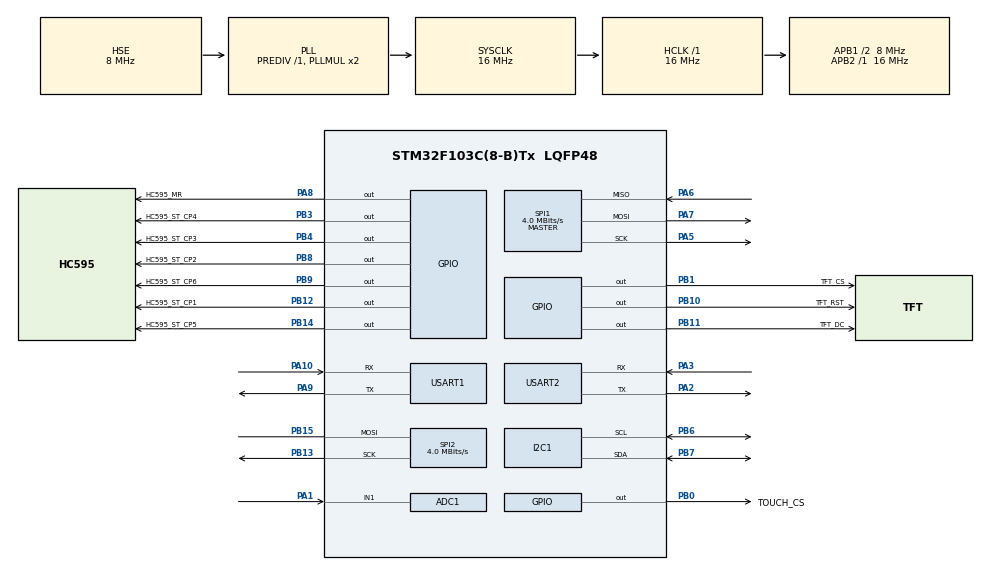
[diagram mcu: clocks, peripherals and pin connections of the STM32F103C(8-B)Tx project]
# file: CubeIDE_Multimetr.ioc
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ADC1.Channel-4\#ChannelRegularConversion=ADC_CHANNEL_1
ADC1.ContinuousConvMode=ENABLE
ADC1.EnableRegularConversion=ENABLE
ADC1.NbrOfConversion=1
ADC1.NbrOfConversionFlag=1
ADC1.Rank-4\#ChannelRegularConversion=1
ADC1.SamplingTime-4\#ChannelRegularConversion=ADC_SAMPLETIME_1CYCLE_5
ADC1.master=1
FREERTOS.Queues01=myQueue01,10,QUEUE_t,0,Static,myQueue01Buffer,myQueue01ControlBlock
FREERTOS.Tasks01=defaultTask,24,128,StartDefaultTask,Default,NULL,Static,defaultTaskBuffer,defaultTaskControlBlock;ADC_Task,10,500,StartADC_Task,Default,NULL,Static,ADC_TaskBuffer,ADC_TaskControlBlock;UART_Task,8,128,StartUART_Task,Default,NULL,Static,UART_TaskBuffer,UART_TaskControlBlock;TFT_Task,8,128,StartTFT_Task,Default,NULL,Static,TFT_TaskBuffer,TFT_TaskControlBlock;INA219_Current,8,400,StartINA219_Current_Task,Default,NULL,Static,INA219_TaskBuffer,INA219_TaskControlBlock;InitMyDevice,24,128,StartInitMyDevice,Default,NULL,Static,InitMyDeviceBuffer,InitMyDeviceControlBlock;INA219_vBus,8,350,INA219_vBus_Task,Default,NULL,Dynamic,NULL,NULL;INA219_vShunt,8,350,INA219_vShunt_Task,Default,NULL,Dynamic,NULL,NULL;ManagementMatri,8,250,StartManagementMatrix,Default,NULL,Static,ManagementMatriBuffer,ManagementMatriControlBlock
Mcu.Family=STM32F1
Mcu.Name=STM32F103C(8-B)Tx
Mcu.Package=LQFP48
NVIC.PriorityGroup=NVIC_PRIORITYGROUP_4
NVIC.TIM4_IRQn=true\:15\:0\:false\:false\:true\:false\:false\:true\:true
NVIC.TimeBase=TIM4_IRQn
NVIC.TimeBaseIP=TIM4
PA1.Signal=ADCx_IN1
PA10.Mode=Asynchronous
PA10.Signal=USART1_RX
PA13.Mode=Serial_Wire
PA13.Signal=SYS_JTMS-SWDIO
PA14.Mode=Serial_Wire
PA14.Signal=SYS_JTCK-SWCLK
PA2.Mode=Asynchronous
PA2.Signal=USART2_TX
PA3.Mode=Asynchronous
PA3.Signal=USART2_RX
PA5.Mode=Full_Duplex_Master
PA5.Signal=SPI1_SCK
PA6.Mode=Full_Duplex_Master
PA6.Signal=SPI1_MISO
PA7.Mode=Full_Duplex_Master
PA7.Signal=SPI1_MOSI
PA8.GPIO_Label=HC595_MR
PA8.Signal=GPIO_Output
PA9.Mode=Asynchronous
PA9.Signal=USART1_TX
PB0.GPIO_Label=TOUCH_CS
PB0.Signal=GPIO_Output
PB1.GPIO_Label=TFT_CS
PB1.Signal=GPIO_Output
PB10.GPIO_Label=TFT_RST
PB10.Signal=GPIO_Output
PB11.GPIO_Label=TFT_DC
PB11.Signal=GPIO_Output
PB12.GPIO_Label=HC595_ST_CP1
PB12.Signal=GPIO_Output
PB13.Mode=Simplex_Bidirectional_Master
PB13.Signal=SPI2_SCK
PB14.GPIO_Label=HC595_ST_CP5
PB14.Signal=GPIO_Output
PB15.Mode=Simplex_Bidirectional_Master
PB15.Signal=SPI2_MOSI
PB3.GPIO_Label=HC595_ST_CP4
PB3.Signal=GPIO_Output
PB4.GPIO_Label=HC595_ST_CP3
PB4.Signal=GPIO_Output
PB6.Mode=I2C
PB6.Signal=I2C1_SCL
PB7.Mode=I2C
PB7.Signal=I2C1_SDA
PB8.GPIO_Label=HC595_ST_CP2
PB8.Signal=GPIO_Output
PB9.GPIO_Label=HC595_ST_CP6
PB9.Signal=GPIO_Output
PD0-OSC_IN.Mode=HSE-External-Oscillator
PD0-OSC_IN.Signal=RCC_OSC_IN
PD1-OSC_OUT.Mode=HSE-External-Oscillator
PD1-OSC_OUT.Signal=RCC_OSC_OUT
ProjectManager.HeapSize=0x200
ProjectManager.StackSize=0x400
ProjectManager.TargetToolchain=STM32CubeIDE
RCC.AHBFreq_Value=16000000
RCC.APB1CLKDivider=RCC_HCLK_DIV2
RCC.APB1Freq_Value=8000000
RCC.APB1TimFreq_Value=16000000
RCC.APB2Freq_Value=16000000
RCC.APB2TimFreq_Value=16000000
RCC.HCLKFreq_Value=16000000
RCC.PLLSourceVirtual=RCC_PLLSOURCE_HSE
RCC.SYSCLKFreq_VALUE=16000000
RCC.SYSCLKSource=RCC_SYSCLKSOURCE_PLLCLK
RCC.USBFreq_Value=16000000
SH.ADCx_IN1.0=ADC1_IN1,IN1
SPI1.BaudRatePrescaler=SPI_BAUDRATEPRESCALER_4
SPI1.CalculateBaudRate=4.0 MBits/s
SPI1.Direction=SPI_DIRECTION_2LINES
SPI1.Mode=SPI_MODE_MASTER
SPI1.VirtualType=VM_MASTER
SPI2.CalculateBaudRate=4.0 MBits/s
SPI2.Direction=SPI_DIRECTION_1LINE
SPI2.Mode=SPI_MODE_MASTER
SPI2.VirtualType=VM_MASTER
USART1.VirtualMode=VM_ASYNC
USART2.VirtualMode=VM_ASYNC
VP_FREERTOS_VS_CMSIS_V2.Mode=CMSIS_V2
VP_SYS_VS_tim4.Mode=TIM4
board=custom

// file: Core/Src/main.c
/* USER CODE BEGIN Header */
/**
  ******************************************************************************
  * @file           : main.c
  * @brief          : Main program body
  ******************************************************************************
  * @attention
  *
  * Copyright (c) 2024 STMicroelectronics.
  * All rights reserved.
  *
  * This software is licensed under terms that can be found in the LICENSE file
  * in the root directory of this software component.
  * If no LICENSE file comes with this software, it is provided AS-IS.
  *
  ******************************************************************************
  */
/* USER CODE END Header */
#include "main.h"
#include "cmsis_os.h"

typedef StaticTask_t osStaticThreadDef_t;
typedef StaticQueue_t osStaticMessageQDef_t;
/* USER CODE BEGIN PTD */

uint8_t number74HC595;	// номер подключаемой мк 74HC595 по контакту "защелки" ST_CP
uint8_t numberMass; // номер вычисленного элемента в массиве

/*Массив адресов пинов, подключенных к пинам ST_CP микросхем 74HC595  */
uint16_t mass74HC595[] = {
		((uint16_t)0x1000),	//ST_CP_1     GPIO_PIN_12
		((uint16_t)0x0100),	//ST_CP_2     GPIO_PIN_8
		((uint16_t)0x0010),	//ST_CP_3     GPIO_PIN_4
		((uint16_t)0x0008),	//ST_CP_4     GPIO_PIN_3
		((uint16_t)0x4000),	//ST_CP_5     GPIO_PIN_14
		((uint16_t)0x0200),	//ST_CP_6     GPIO_PIN_9
};

typedef enum {
	vBus,
	vShunt,
	Current
} DataTask_t;

typedef struct {
	char Buf[30];
	char mess[10];
} QUEUE_t;
/* USER CODE END PTD */

ADC_HandleTypeDef hadc1;

I2C_HandleTypeDef hi2c1;

SPI_HandleTypeDef hspi1;
SPI_HandleTypeDef hspi2;

UART_HandleTypeDef huart1;
UART_HandleTypeDef huart2;

/* Definitions for defaultTask */
osThreadId_t defaultTaskHandle;
uint32_t defaultTaskBuffer[ 128 ];
osStaticThreadDef_t defaultTaskControlBlock;
const osThreadAttr_t defaultTask_attributes = {
  .name = "defaultTask",
  .cb_mem = &defaultTaskControlBlock,
  .cb_size = sizeof(defaultTaskControlBlock),
  .stack_mem = &defaultTaskBuffer[0],
  .stack_size = sizeof(defaultTaskBuffer),
  .priority = (osPriority_t) osPriorityNormal,
};
/* Definitions for ADC_Task */
osThreadId_t ADC_TaskHandle;
uint32_t ADC_TaskBuffer[ 500 ];
osStaticThreadDef_t ADC_TaskControlBlock;
const osThreadAttr_t ADC_Task_attributes = {
  .name = "ADC_Task",
  .cb_mem = &ADC_TaskControlBlock,
  .cb_size = sizeof(ADC_TaskControlBlock),
  .stack_mem = &ADC_TaskBuffer[0],
  .stack_size = sizeof(ADC_TaskBuffer),
  .priority = (osPriority_t) osPriorityLow2,
};
/* Definitions for UART_Task */
osThreadId_t UART_TaskHandle;
uint32_t UART_TaskBuffer[ 128 ];
osStaticThreadDef_t UART_TaskControlBlock;
const osThreadAttr_t UART_Task_attributes = {
  .name = "UART_Task",
  .cb_mem = &UART_TaskControlBlock,
  .cb_size = sizeof(UART_TaskControlBlock),
  .stack_mem = &UART_TaskBuffer[0],
  .stack_size = sizeof(UART_TaskBuffer),
  .priority = (osPriority_t) osPriorityLow,
};
/* Definitions for TFT_Task */
osThreadId_t TFT_TaskHandle;
uint32_t TFT_TaskBuffer[ 128 ];
osStaticThreadDef_t TFT_TaskControlBlock;
const osThreadAttr_t TFT_Task_attributes = {
  .name = "TFT_Task",
  .cb_mem = &TFT_TaskControlBlock,
  .cb_size = sizeof(TFT_TaskControlBlock),
  .stack_mem = &TFT_TaskBuffer[0],
  .stack_size = sizeof(TFT_TaskBuffer),
  .priority = (osPriority_t) osPriorityLow,
};
/* Definitions for INA219_Current */
osThreadId_t INA219_CurrentHandle;
uint32_t INA219_TaskBuffer[ 400 ];
osStaticThreadDef_t INA219_TaskControlBlock;
const osThreadAttr_t INA219_Current_attributes = {
  .name = "INA219_Current",
  .cb_mem = &INA219_TaskControlBlock,
  .cb_size = sizeof(INA219_TaskControlBlock),
  .stack_mem = &INA219_TaskBuffer[0],
  .stack_size = sizeof(INA219_TaskBuffer),
  .priority = (osPriority_t) osPriorityLow,
};
/* Definitions for InitMyDevice */
osThreadId_t InitMyDeviceHandle;
uint32_t InitMyDeviceBuffer[ 128 ];
osStaticThreadDef_t InitMyDeviceControlBlock;
const osThreadAttr_t InitMyDevice_attributes = {
  .name = "InitMyDevice",
  .cb_mem = &InitMyDeviceControlBlock,
  .cb_size = sizeof(InitMyDeviceControlBlock),
  .stack_mem = &InitMyDeviceBuffer[0],
  .stack_size = sizeof(InitMyDeviceBuffer),
  .priority = (osPriority_t) osPriorityNormal,
};
/* Definitions for INA219_vBus */
osThreadId_t INA219_vBusHandle;
const osThreadAttr_t INA219_vBus_attributes = {
  .name = "INA219_vBus",
  .stack_size = 350 * 4,
  .priority = (osPriority_t) osPriorityLow,
};
/* Definitions for INA219_vShunt */
osThreadId_t INA219_vShuntHandle;
const osThreadAttr_t INA219_vShunt_attributes = {
  .name = "INA219_vShunt",
  .stack_size = 350 * 4,
  .priority = (osPriority_t) osPriorityLow,
};
/* Definitions for ManagementMatri */
osThreadId_t ManagementMatriHandle;
uint32_t ManagementMatriBuffer[ 250 ];
osStaticThreadDef_t ManagementMatriControlBlock;
const osThreadAttr_t ManagementMatri_attributes = {
  .name = "ManagementMatri",
  .cb_mem = &ManagementMatriControlBlock,
  .cb_size = sizeof(ManagementMatriControlBlock),
  .stack_mem = &ManagementMatriBuffer[0],
  .stack_size = sizeof(ManagementMatriBuffer),
  .priority = (osPriority_t) osPriorityLow,
};
/* Definitions for myQueue01 */
osMessageQueueId_t myQueue01Handle;
uint8_t myQueue01Buffer[ 10 * sizeof( QUEUE_t ) ];
osStaticMessageQDef_t myQueue01ControlBlock;
const osMessageQueueAttr_t myQueue01_attributes = {
  .name = "myQueue01",
  .cb_mem = &myQueue01ControlBlock,
  .cb_size = sizeof(myQueue01ControlBlock),
  .mq_mem = &myQueue01Buffer,
  .mq_size = sizeof(myQueue01Buffer)
};

void SystemClock_Config(void);
static void MX_GPIO_Init(void);
static void MX_ADC1_Init(void);
static void MX_SPI1_Init(void);
static void MX_USART1_UART_Init(void);
static void MX_I2C1_Init(void);
static void MX_SPI2_Init(void);
static void MX_USART2_UART_Init(void);
void StartDefaultTask(void *argument);
void StartADC_Task(void *argument);
void StartUART_Task(void *argument);
void StartTFT_Task(void *argument);
void StartINA219_Current_Task(void *argument);
void StartInitMyDevice(void *argument);
void INA219_vBus_Task(void *argument);
void INA219_vShunt_Task(void *argument);
void StartManagementMatrix(void *argument);

/* USER CODE BEGIN 0 */

/*Функция сброса в 0 входного(буферного) регистра микросхем 74HC595*/
void Clear_74HC595(){

	GPIOA-> BSRR|= GPIO_BSRR_BR8; // вывод MR 74HC595 в "0"(сброс)		(подключен параллельно ко всем микросхемам 74HC595)
	GPIOA-> BSRR|= GPIO_BSRR_BS8; // вывод MR 74HC595 в "1"(сброс выкл)

	/*Очищаем регистр вкл паралелльных выходов, перенося в него 0*/
	GPIOB-> BSRR|= GPIO_BSRR_BS12;	// "Защелка" для вывода данных на порты выхода 1-ой мк 74HC595
    GPIOB-> BSRR|= GPIO_BSRR_BR12;

    GPIOB-> BSRR|= GPIO_BSRR_BS8;		// "Защелка" для вывода данных на порты выхода 2-ой мк 74HC595
    GPIOB-> BSRR|= GPIO_BSRR_BR8;

    GPIOB-> BSRR|= GPIO_BSRR_BS4;		// "Защелка" для вывода данных на порты выхода 3-ой мк 74HC595
    GPIOB-> BSRR|= GPIO_BSRR_BR4;

    GPIOB-> BSRR|= GPIO_BSRR_BS3;		// "Защелка" для вывода данных на порты выхода 4-ой мк 74HC595
    GPIOB-> BSRR|= GPIO_BSRR_BR3;

    GPIOB-> BSRR|= GPIO_BSRR_BS14;		// "Защелка" для вывода данных на порты выхода 5-ой мк 74HC595
    GPIOB-> BSRR|= GPIO_BSRR_BR14;

    GPIOB-> BSRR|= GPIO_BSRR_BS9;		// "Защелка" для вывода данных на порты выхода 6-ой мк 74HC595
    GPIOB-> BSRR|= GPIO_BSRR_BR9;
};

/*Функция включения входного(буферного) регистра микросхем 74HC595*/
void EnableOut_74HC595(){
	GPIOA-> BSRR|= GPIO_BSRR_BS8; // вывод MR 74HC595 в "1"(сброс выкл)
};

/*Функция выключения входного(буферного) регистра микросхем 74HC595*/
void DisableOut_74HC595(void){
	GPIOA-> BSRR|= GPIO_BSRR_BR8; // вывод MR 74HC595 в "0"(сброс)		(подключен параллельно ко всем микросхемам 74HC595)
};

INA219_t ina219;
/* USER CODE END 0 */

int main(void)
{

  /* MCU Configuration--------------------------------------------------------*/

  /* Reset of all peripherals, Initializes the Flash interface and the Systick. */
  HAL_Init();

  /* Configure the system clock */
  SystemClock_Config();

  /* Initialize all configured peripherals */
  MX_GPIO_Init();
  MX_ADC1_Init();
  MX_SPI1_Init();
  MX_USART1_UART_Init();
  MX_I2C1_Init();
  MX_SPI2_Init();
  MX_USART2_UART_Init();
  /* USER CODE BEGIN 2 */
  uint8_t SPI2_Data[] = {1,2,4,8,16,32,64,128};
  EnableOut_74HC595();
  for (uint8_t i = 0; i <= 15; i++) {
	  number74HC595 = i / 8;
	  numberMass = i - (i / 8) * 8;
	  HAL_SPI_Transmit(&hspi2, &SPI2_Data[numberMass], 1, osWaitForever); // &SPI2_Data[i] -> передавать нужно указатель
	  HAL_GPIO_WritePin(GPIOB, mass74HC595[number74HC595],GPIO_PIN_SET );
	  HAL_GPIO_WritePin(GPIOB, mass74HC595[number74HC595],GPIO_PIN_RESET );
	  HAL_Delay(1000);
	  Clear_74HC595();
  }
//  /* Код для ina219   */
//  unsigned char uart_tx_buff[100];
//  uint16_t vbus, vshunt, current, config;
//  float current_correctly;
//  while(!INA219_Init(&ina219, &hi2c1, INA219_ADDRESS))
//       {
//
//        }
//   sprintf(uart_tx_buff, "**********		Hello battery app	 **********\r\n");
//   HAL_UART_Transmit(&huart1, uart_tx_buff, strlen(uart_tx_buff), 100);

  /* USER CODE END 2 */

  /* Init scheduler */
  osKernelInitialize();

  /* Create the queue(s) */
  /* creation of myQueue01 */
  myQueue01Handle = osMessageQueueNew (10, sizeof(QUEUE_t), &myQueue01_attributes);

  /* Create the thread(s) */
  /* creation of defaultTask */
  defaultTaskHandle = osThreadNew(StartDefaultTask, NULL, &defaultTask_attributes);

  /* creation of ADC_Task */
  ADC_TaskHandle = osThreadNew(StartADC_Task, NULL, &ADC_Task_attributes);

  /* creation of UART_Task */
  UART_TaskHandle = osThreadNew(StartUART_Task, NULL, &UART_Task_attributes);

  /* creation of TFT_Task */
  TFT_TaskHandle = osThreadNew(StartTFT_Task, NULL, &TFT_Task_attributes);

  /* creation of INA219_Current */
  INA219_CurrentHandle = osThreadNew(StartINA219_Current_Task, NULL, &INA219_Current_attributes);

  /* creation of InitMyDevice */
  InitMyDeviceHandle = osThreadNew(StartInitMyDevice, NULL, &InitMyDevice_attributes);

  /* creation of INA219_vBus */
  INA219_vBusHandle = osThreadNew(INA219_vBus_Task, NULL, &INA219_vBus_attributes);

  /* creation of INA219_vShunt */
  INA219_vShuntHandle = osThreadNew(INA219_vShunt_Task, NULL, &INA219_vShunt_attributes);

  /* creation of ManagementMatri */
  ManagementMatriHandle = osThreadNew(StartManagementMatrix, NULL, &ManagementMatri_attributes);

  /* Start scheduler */
  osKernelStart();
  /* We should never get here as control is now taken by the scheduler */
  /* Infinite loop */
  while (1)
  {

  }
}

void SystemClock_Config(void)
{
  RCC_OscInitTypeDef RCC_OscInitStruct = {0};
  RCC_ClkInitTypeDef RCC_ClkInitStruct = {0};
  RCC_PeriphCLKInitTypeDef PeriphClkInit = {0};

  /** Initializes the RCC Oscillators according to the specified parameters
  * in the RCC_OscInitTypeDef structure.
  */
  RCC_OscInitStruct.OscillatorType = RCC_OSCILLATORTYPE_HSE;
  RCC_OscInitStruct.HSEState = RCC_HSE_ON;
  RCC_OscInitStruct.HSEPredivValue = RCC_HSE_PREDIV_DIV1;
  RCC_OscInitStruct.HSIState = RCC_HSI_ON;
  RCC_OscInitStruct.PLL.PLLState = RCC_PLL_ON;
  RCC_OscInitStruct.PLL.PLLSource = RCC_PLLSOURCE_HSE;
  RCC_OscInitStruct.PLL.PLLMUL = RCC_PLL_MUL2;
  if (HAL_RCC_OscConfig(&RCC_OscInitStruct) != HAL_OK)
  {
    Error_Handler();
  }

  /** Initializes the CPU, AHB and APB buses clocks
  */
  RCC_ClkInitStruct.ClockType = RCC_CLOCKTYPE_HCLK|RCC_CLOCKTYPE_SYSCLK
                              |RCC_CLOCKTYPE_PCLK1|RCC_CLOCKTYPE_PCLK2;
  RCC_ClkInitStruct.SYSCLKSource = RCC_SYSCLKSOURCE_PLLCLK;
  RCC_ClkInitStruct.AHBCLKDivider = RCC_SYSCLK_DIV1;
  RCC_ClkInitStruct.APB1CLKDivider = RCC_HCLK_DIV2;
  RCC_ClkInitStruct.APB2CLKDivider = RCC_HCLK_DIV1;

  if (HAL_RCC_ClockConfig(&RCC_ClkInitStruct, FLASH_LATENCY_0) != HAL_OK)
  {
    Error_Handler();
  }
  PeriphClkInit.PeriphClockSelection = RCC_PERIPHCLK_ADC;
  PeriphClkInit.AdcClockSelection = RCC_ADCPCLK2_DIV2;
  if (HAL_RCCEx_PeriphCLKConfig(&PeriphClkInit) != HAL_OK)
  {
    Error_Handler();
  }
}

static void MX_ADC1_Init(void)
{

  ADC_ChannelConfTypeDef sConfig = {0};

  /** Common config
  */
  hadc1.Instance = ADC1;
  hadc1.Init.ScanConvMode = ADC_SCAN_DISABLE;
  hadc1.Init.ContinuousConvMode = ENABLE;
  hadc1.Init.DiscontinuousConvMode = DISABLE;
  hadc1.Init.ExternalTrigConv = ADC_SOFTWARE_START;
  hadc1.Init.DataAlign = ADC_DATAALIGN_RIGHT;
  hadc1.Init.NbrOfConversion = 1;
  if (HAL_ADC_Init(&hadc1) != HAL_OK)
  {
    Error_Handler();
  }

  /** Configure Regular Channel
  */
  sConfig.Channel = ADC_CHANNEL_1;
  sConfig.Rank = ADC_REGULAR_RANK_1;
  sConfig.SamplingTime = ADC_SAMPLETIME_1CYCLE_5;
  if (HAL_ADC_ConfigChannel(&hadc1, &sConfig) != HAL_OK)
  {
    Error_Handler();
  }

}

static void MX_I2C1_Init(void)
{

  hi2c1.Instance = I2C1;
  hi2c1.Init.ClockSpeed = 100000;
  hi2c1.Init.DutyCycle = I2C_DUTYCYCLE_2;
  hi2c1.Init.OwnAddress1 = 0;
  hi2c1.Init.AddressingMode = I2C_ADDRESSINGMODE_7BIT;
  hi2c1.Init.DualAddressMode = I2C_DUALADDRESS_DISABLE;
  hi2c1.Init.OwnAddress2 = 0;
  hi2c1.Init.GeneralCallMode = I2C_GENERALCALL_DISABLE;
  hi2c1.Init.NoStretchMode = I2C_NOSTRETCH_DISABLE;
  if (HAL_I2C_Init(&hi2c1) != HAL_OK)
  {
    Error_Handler();
  }

}

static void MX_SPI1_Init(void)
{

  /* SPI1 parameter configuration*/
  hspi1.Instance = SPI1;
  hspi1.Init.Mode = SPI_MODE_MASTER;
  hspi1.Init.Direction = SPI_DIRECTION_2LINES;
  hspi1.Init.DataSize = SPI_DATASIZE_8BIT;
  hspi1.Init.CLKPolarity = SPI_POLARITY_LOW;
  hspi1.Init.CLKPhase = SPI_PHASE_1EDGE;
  hspi1.Init.NSS = SPI_NSS_SOFT;
  hspi1.Init.BaudRatePrescaler = SPI_BAUDRATEPRESCALER_4;
  hspi1.Init.FirstBit = SPI_FIRSTBIT_MSB;
  hspi1.Init.TIMode = SPI_TIMODE_DISABLE;
  hspi1.Init.CRCCalculation = SPI_CRCCALCULATION_DISABLE;
  hspi1.Init.CRCPolynomial = 10;
  if (HAL_SPI_Init(&hspi1) != HAL_OK)
  {
    Error_Handler();
  }

}

static void MX_SPI2_Init(void)
{

  /* SPI2 parameter configuration*/
  hspi2.Instance = SPI2;
  hspi2.Init.Mode = SPI_MODE_MASTER;
  hspi2.Init.Direction = SPI_DIRECTION_1LINE;
  hspi2.Init.DataSize = SPI_DATASIZE_8BIT;
  hspi2.Init.CLKPolarity = SPI_POLARITY_LOW;
  hspi2.Init.CLKPhase = SPI_PHASE_1EDGE;
  hspi2.Init.NSS = SPI_NSS_SOFT;
  hspi2.Init.BaudRatePrescaler = SPI_BAUDRATEPRESCALER_2;
  hspi2.Init.FirstBit = SPI_FIRSTBIT_MSB;
  hspi2.Init.TIMode = SPI_TIMODE_DISABLE;
  hspi2.Init.CRCCalculation = SPI_CRCCALCULATION_DISABLE;
  hspi2.Init.CRCPolynomial = 10;
  if (HAL_SPI_Init(&hspi2) != HAL_OK)
  {
    Error_Handler();
  }

}

static void MX_USART1_UART_Init(void)
{

  huart1.Instance = USART1;
  huart1.Init.BaudRate = 115200;
  huart1.Init.WordLength = UART_WORDLENGTH_8B;
  huart1.Init.StopBits = UART_STOPBITS_1;
  huart1.Init.Parity = UART_PARITY_NONE;
  huart1.Init.Mode = UART_MODE_TX_RX;
  huart1.Init.HwFlowCtl = UART_HWCONTROL_NONE;
  huart1.Init.OverSampling = UART_OVERSAMPLING_16;
  if (HAL_UART_Init(&huart1) != HAL_OK)
  {
    Error_Handler();
  }

}

static void MX_USART2_UART_Init(void)
{

  huart2.Instance = USART2;
  huart2.Init.BaudRate = 115200;
  huart2.Init.WordLength = UART_WORDLENGTH_8B;
  huart2.Init.StopBits = UART_STOPBITS_1;
  huart2.Init.Parity = UART_PARITY_NONE;
  huart2.Init.Mode = UART_MODE_TX_RX;
  huart2.Init.HwFlowCtl = UART_HWCONTROL_NONE;
  huart2.Init.OverSampling = UART_OVERSAMPLING_16;
  if (HAL_UART_Init(&huart2) != HAL_OK)
  {
    Error_Handler();
  }

}

static void MX_GPIO_Init(void)
{
  GPIO_InitTypeDef GPIO_InitStruct = {0};

  /* GPIO Ports Clock Enable */
  __HAL_RCC_GPIOD_CLK_ENABLE();
  __HAL_RCC_GPIOA_CLK_ENABLE();
  __HAL_RCC_GPIOB_CLK_ENABLE();

  /*Configure GPIO pin Output Level */
  HAL_GPIO_WritePin(GPIOB, TOUCH_CS_Pin|TFT_CS_Pin|TFT_RST_Pin|TFT_DC_Pin
                          |HC595_ST_CP1_Pin|HC595_ST_CP5_Pin|HC595_ST_CP4_Pin|HC595_ST_CP3_Pin
                          |HC595_ST_CP2_Pin|HC595_ST_CP6_Pin, GPIO_PIN_RESET);

  /*Configure GPIO pin Output Level */
  HAL_GPIO_WritePin(HC595_MR_GPIO_Port, HC595_MR_Pin, GPIO_PIN_RESET);

  /*Configure GPIO pins : TOUCH_CS_Pin TFT_CS_Pin TFT_RST_Pin TFT_DC_Pin
                           HC595_ST_CP1_Pin HC595_ST_CP5_Pin HC595_ST_CP4_Pin HC595_ST_CP3_Pin
                           HC595_ST_CP2_Pin HC595_ST_CP6_Pin */
  GPIO_InitStruct.Pin = TOUCH_CS_Pin|TFT_CS_Pin|TFT_RST_Pin|TFT_DC_Pin
                          |HC595_ST_CP1_Pin|HC595_ST_CP5_Pin|HC595_ST_CP4_Pin|HC595_ST_CP3_Pin
                          |HC595_ST_CP2_Pin|HC595_ST_CP6_Pin;
  GPIO_InitStruct.Mode = GPIO_MODE_OUTPUT_PP;
  GPIO_InitStruct.Pull = GPIO_NOPULL;
  GPIO_InitStruct.Speed = GPIO_SPEED_FREQ_LOW;
  HAL_GPIO_Init(GPIOB, &GPIO_InitStruct);

  /*Configure GPIO pin : HC595_MR_Pin */
  GPIO_InitStruct.Pin = HC595_MR_Pin;
  GPIO_InitStruct.Mode = GPIO_MODE_OUTPUT_PP;
  GPIO_InitStruct.Pull = GPIO_NOPULL;
  GPIO_InitStruct.Speed = GPIO_SPEED_FREQ_LOW;
  HAL_GPIO_Init(HC595_MR_GPIO_Port, &GPIO_InitStruct);

}

void StartDefaultTask(void *argument)
{
  for(;;)
  {
    osDelay(1);
  }
}

void StartADC_Task(void *argument)
{
  /* USER CODE BEGIN StartADC_Task */
   QUEUE_t msg;
   float u_res =0;
   char ADC_char_res[6];
  /* Infinite loop */
  for(;;)
  {

	HAL_ADC_Start(&hadc1);
	u_res = HAL_ADC_GetValue(&hadc1)* 3.3f / 4095.0f;
    sprintf(ADC_char_res, "%1.3f", u_res);
	strcpy(msg.Buf,ADC_char_res);
	strcpy(msg.mess,"ADC");
	osMessageQueuePut(myQueue01Handle, &msg, 0, osWaitForever); //Поместили в очередь данные
	osDelay(300);
  }
  /* USER CODE END StartADC_Task */
}

void StartUART_Task(void *argument)
{
  /* USER CODE BEGIN StartUART_Task */
   QUEUE_t msg;
   char message_ADC[] = "Value ADC = ";
   char message_vBus[] = "Value vBus[V] = ";
   char message_vShunt[] = "Value vShunt[mV] = ";
   char message_Current[] = "Value Current[mA] = ";
  /* Infinite loop */
  for(;;)
  {
	  osMessageQueueGet(myQueue01Handle, &msg,0 ,osWaitForever);
	  if(!strcmp(msg.mess, "ADC")) {
		    HAL_UART_Transmit(&huart1, (uint8_t*)message_ADC, strlen(message_ADC), osWaitForever);
		  	HAL_UART_Transmit(&huart1, (uint8_t*)msg.Buf, strlen(msg.Buf), osWaitForever);
		  	HAL_UART_Transmit(&huart1, (uint8_t*)" \n", 2, osWaitForever);
	  		 }
	  else if(!strcmp(msg.mess, "vBus")){
		    HAL_UART_Transmit(&huart1, (uint8_t*)message_vBus, strlen(message_vBus), osWaitForever);
		  	HAL_UART_Transmit(&huart1, (uint8_t*)msg.Buf, strlen(msg.Buf), osWaitForever);
		  	HAL_UART_Transmit(&huart1, (uint8_t*)" \n", 2, osWaitForever);
	  	  	  }
	  else if(!strcmp(msg.mess, "vShunt")){
		    HAL_UART_Transmit(&huart1, (uint8_t*)message_vShunt, strlen(message_vShunt), osWaitForever);
		 	HAL_UART_Transmit(&huart1, (uint8_t*)msg.Buf, strlen(msg.Buf), osWaitForever);
		 	HAL_UART_Transmit(&huart1, (uint8_t*)" \n", 2, osWaitForever);
	  	  	  }
	  else if(!strcmp(msg.mess, "Current")){
		    HAL_UART_Transmit(&huart1, (uint8_t*)message_Current, strlen(message_Current), osWaitForever);
		 	HAL_UART_Transmit(&huart1, (uint8_t*)msg.Buf, strlen(msg.Buf), osWaitForever);
		 	HAL_UART_Transmit(&huart1, (uint8_t*)" \n", 2, osWaitForever);
	  	  	  }
	osDelay(500);
  }
  /* USER CODE END StartUART_Task */
}

void StartTFT_Task(void *argument)
{
  /* USER CODE BEGIN StartTFT_Task */
  QUEUE_t msg;
  /* Infinite loop */
  for(;;)
  {
	osMessageQueueGet(myQueue01Handle, &msg,0 ,10);
	if(!strcmp(msg.mess, "ADC")) {
			ILI9341_WriteString(0, 36, msg.Buf, Font_11x18, WHITE, MYFON);
		 }
	else if(!strcmp(msg.mess, "vBus")){
			ILI9341_WriteString(150, 54, msg.Buf, Font_11x18, WHITE, MYFON);
		}
	else if(!strcmp(msg.mess, "vShunt")){
			ILI9341_WriteString(150, 72, msg.Buf, Font_11x18, WHITE, MYFON);
			}
	else if(!strcmp(msg.mess, "Current")){
			ILI9341_WriteString(150, 90, msg.Buf, Font_11x18, WHITE, MYFON);
			}
    osDelay(100);
  }
  /* USER CODE END StartTFT_Task */
}

void StartINA219_Current_Task(void *argument)
{
  /* USER CODE BEGIN StartINA219_Current_Task */
  QUEUE_t msg;
  char uart_tx_buff[100];
  float current;
  /* Infinite loop */
  for(;;)
  {
	current = INA219_ReadCurrent(&ina219);
	sprintf(uart_tx_buff,"%4.2f",current);
	strcpy(msg.mess,"Current");
	strcpy(msg.Buf,uart_tx_buff);
	osMessageQueuePut(myQueue01Handle, &msg, 0, osWaitForever); //Поместили в очередь данные
    osDelay(300);
  }
  /* USER CODE END StartINA219_Current_Task */
}

void StartInitMyDevice(void *argument)
{
  /* USER CODE BEGIN StartInitMyDevice */
	 char uart_tx_buff[100];
  /* Infinite loop */
  for(;;)
  {
	  __HAL_SPI_ENABLE(DISP_SPI_PTR);
	   ILI9341_Init();
	   ILI9341_Set_Rotation(SCREEN_HORIZONTAL_2);

	   ILI9341_Fill_Screen(MYFON);
	   ILI9341_WriteString(0, 0, "<---Pulsar--->", Font_11x18, WHITE, MYFON);
	   ILI9341_WriteString(0, 18, "The value of the ADC", Font_11x18, WHITE, MYFON);
	   ILI9341_WriteString(60, 36, "V", Font_11x18, WHITE, MYFON);
	   ILI9341_WriteString(0, 54, "vBus[V] ", Font_11x18, WHITE, MYFON);
	   ILI9341_WriteString(0, 72, "vShunt[mV]", Font_11x18, WHITE, MYFON);
	   ILI9341_WriteString(0, 90, "Current[mA] ", Font_11x18, WHITE, MYFON);
	   HAL_Delay(100);
	   /* Код для ina219   */
	   while(!INA219_Init(&ina219, &hi2c1, INA219_ADDRESS))
	        {

	         }
	    sprintf(uart_tx_buff, "**********		Hello INA219 app	 **********\r\n");
	    HAL_UART_Transmit(&huart1, uart_tx_buff, strlen(uart_tx_buff), 100);
	    INA219_setCalibration_16V_400mA(&ina219);

    osDelay(1);
    vTaskSuspend(InitMyDeviceHandle); //Блокировка задачи
  }
  /* USER CODE END StartInitMyDevice */
}

void INA219_vBus_Task(void *argument)
{
  /* USER CODE BEGIN INA219_vBus_Task */
  QUEUE_t msg;
  char uart_tx_buff[100];
  float vbus;
  /* Infinite loop */
  for(;;)
  {
	vbus = INA219_ReadBusVoltage(&ina219)/ 1000.0; // переводим в В из мВ
	sprintf(uart_tx_buff, "%4.2f",vbus);
	strcpy(msg.mess,"vBus");
	strcpy(msg.Buf,uart_tx_buff);
	osMessageQueuePut(myQueue01Handle, &msg, 0, osWaitForever); //Поместили в очередь данные
    osDelay(70);
  }
  /* USER CODE END INA219_vBus_Task */
}

void INA219_vShunt_Task(void *argument)
{
  /* USER CODE BEGIN INA219_vShunt_Task */
	 QUEUE_t msg;
	 char uart_tx_buff[100];
	 uint16_t vShunt;
  /* Infinite loop */
  for(;;)
  {
	vShunt = INA219_ReadShuntVolage(&ina219);
//	sprintf(uart_tx_buff, "vShunt: %hu mV\r\n",vShunt);
	sprintf(uart_tx_buff, "%hu",vShunt);
	strcpy(msg.mess,"vShunt");
	strcpy(msg.Buf,uart_tx_buff);
	osMessageQueuePut(myQueue01Handle, &msg, 0, osWaitForever); //Поместили в очередь данные
//	HAL_UART_Transmit(&huart1, uart_tx_buff, strlen(uart_tx_buff), 100);
	osDelay(300);
  }
  /* USER CODE END INA219_vShunt_Task */
}

void StartManagementMatrix(void *argument)
{
  /* USER CODE BEGIN StartManagementMatrix */
//  uint8_t SPI2_Data[] = {1,2,4,8,16,32,64,128};
//	/* Infinite loop */
//  for(;;)
//  {
//	  	  for (uint8_t i = 0; i <=7 ;i++) {
//	  	  HAL_SPI_Transmit(&hspi2, &SPI2_Data[i], 1, osWaitForever); // &SPI2_Data[i] -> передавать нужно указатель
//	  	  GPIOB-> BSRR|= GPIO_BSRR_BS12;	// "Защелка" для вывода данных на порты выхода 74HC595
//	  	  GPIOB-> BSRR|= GPIO_BSRR_BR12;
//	  	  HAL_Delay(400);
//	  	  	  }
//    osDelay(1000);
//  }
  /* USER CODE END StartManagementMatrix */
}

void HAL_TIM_PeriodElapsedCallback(TIM_HandleTypeDef *htim)
{
  if (htim->Instance == TIM4) {
    HAL_IncTick();
  }
}

void Error_Handler(void)
{
  __disable_irq();
  while (1)
  {
  }
}
